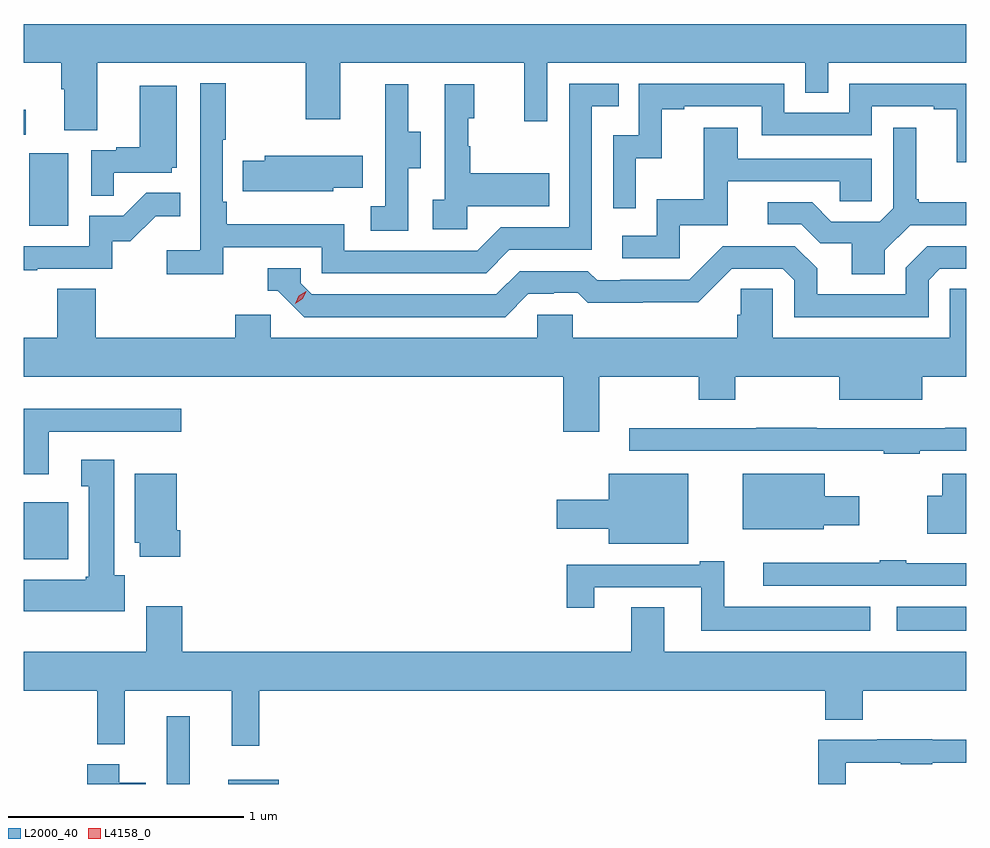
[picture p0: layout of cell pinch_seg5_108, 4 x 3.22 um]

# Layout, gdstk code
import gdstk
lib = gdstk.Library(unit=1e-6, precision=1e-09)
def R(c, l, rs):  # rectangles x0, y0, x1, y1
    for r in rs: c.add(gdstk.rectangle(r[:2], r[2:], *l))
def P(c, l, *ps):  # polygons
    for p in ps: c.add(gdstk.Polygon(p, *l))
L2000_40 = (2000, 40)
L4158_0 = (4158, 0)

pinch_seg5_108 = lib.new_cell('pinch_seg5_108')
R(pinch_seg5_108, L2000_40, [(1019.049,890.996,1019.146,891.283), (1019.309,890.996,1019.524,891.013), (1022.145,891.647,1022.441,891.748), (1018.441,891.95,1018.63,892.192), (1018.466,893.364,1018.63,893.671), (1018.441,893.751,1018.45,893.857)])
P(pinch_seg5_108, L2000_40, [(1018.753,894.056),(1019.638,894.056),(1019.638,893.817),(1019.785,893.817),(1019.785,894.056),(1020.566,894.056),(1020.566,893.808),(1020.663,893.808),(1020.663,894.056),(1021.758,894.056),(1021.758,893.929),(1021.854,893.929),(1021.854,894.056),(1022.441,894.056),(1022.441,894.22),(1018.441,894.22),(1018.441,894.056),(1018.601,894.056),(1018.601,893.944),(1018.613,893.944),(1018.613,893.77),(1018.753,893.77)],
  [(1019.288,893.274),(1019.706,893.274),(1019.706,893.163),(1020.403,893.163),(1020.502,893.262),(1020.852,893.262),(1020.852,893.871),(1020.965,893.871),(1020.965,893.967),(1020.756,893.967),(1020.756,893.358),(1020.465,893.358),(1020.366,893.259),(1019.802,893.259),(1019.802,893.371),(1019.303,893.371),(1019.303,893.467),(1019.286,893.467),(1019.286,893.728),(1019.299,893.728),(1019.299,893.968),(1019.19,893.968),(1019.19,893.26),(1019.049,893.26),(1019.049,893.158),(1019.288,893.158)],
  [(1021.038,893.651),(1021.148,893.651),(1021.148,893.859),(1021.243,893.859),(1021.243,893.871),(1021.572,893.871),(1021.572,893.748),(1022.04,893.748),(1022.04,893.871),(1022.303,893.871),(1022.303,893.859),(1022.399,893.859),(1022.399,893.633),(1022.441,893.633),(1022.441,893.967),(1021.944,893.967),(1021.944,893.844),(1021.668,893.844),(1021.668,893.967),(1021.05,893.967),(1021.05,893.748),(1020.942,893.748),(1020.942,893.439),(1021.038,893.439)],
  [(1020.324,893.447),(1020.671,893.447),(1020.671,893.587),(1020.337,893.587),(1020.337,893.702),(1020.327,893.702),(1020.327,893.82),(1020.352,893.82),(1020.352,893.965),(1020.228,893.965),(1020.228,893.474),(1020.177,893.474),(1020.177,893.349),(1020.324,893.349)],
  [(1020.072,893.608),(1020.127,893.608),(1020.127,893.763),(1020.073,893.763),(1020.073,893.965),(1019.975,893.965),(1019.975,893.751),(1019.976,893.751),(1019.976,893.447),(1019.913,893.447),(1019.913,893.344),(1020.072,893.344)],
  [(1018.823,893.589),(1019.07,893.589),(1019.07,893.61),(1019.092,893.61),(1019.092,893.959),(1018.934,893.959),(1018.934,893.698),(1018.835,893.698),(1018.835,893.685),(1018.728,893.685),(1018.728,893.491),(1018.823,893.491)],
  [(1022.095,893.26),(1022.202,893.367),(1022.441,893.367),(1022.441,893.464),(1022.239,893.464),(1022.239,893.476),(1022.227,893.476),(1022.227,893.779),(1022.13,893.779),(1022.13,893.439),(1022.073,893.382),(1021.867,893.382),(1021.786,893.463),(1021.599,893.463),(1021.599,893.37),(1021.74,893.37),(1021.82,893.29),(1021.955,893.29),(1021.955,893.158),(1022.095,893.158)],
  [(1021.224,893.367),(1021.429,893.367),(1021.429,893.553),(1021.903,893.553),(1021.903,893.469),(1022.04,893.469),(1022.04,893.649),(1021.471,893.649),(1021.471,893.779),(1021.327,893.779),(1021.327,893.476),(1021.128,893.476),(1021.128,893.322),(1020.981,893.322),(1020.981,893.226),(1021.224,893.226)],
  [(1019.754,893.525),(1019.879,893.525),(1019.879,893.662),(1019.465,893.662),(1019.465,893.64),(1019.371,893.64),(1019.371,893.511),(1019.482,893.511),(1019.482,893.51),(1019.754,893.51)],
  [(1018.499,893.181),(1018.818,893.181),(1018.818,893.298),(1018.894,893.298),(1019.001,893.405),(1019.105,893.405),(1019.105,893.504),(1018.961,893.504),(1018.863,893.406),(1018.719,893.406),(1018.719,893.277),(1018.441,893.277),(1018.441,893.176),(1018.499,893.176)],
  [(1020.583,893.076),(1020.69,893.076),(1020.69,893.079),(1020.793,893.079),(1020.835,893.037),(1021.068,893.037),(1021.068,893.039),(1021.304,893.039),(1021.446,893.181),(1021.662,893.181),(1021.71,893.133),(1021.71,892.977),(1022.28,892.977),(1022.28,893.133),(1022.328,893.181),(1022.441,893.181),(1022.441,893.277),(1022.274,893.277),(1022.184,893.187),(1022.184,893.073),(1021.807,893.073),(1021.807,893.183),(1021.713,893.277),(1021.407,893.277),(1021.266,893.136),(1020.973,893.136),(1020.973,893.133),(1020.874,893.133),(1020.835,893.172),(1020.546,893.172),(1020.447,893.073),(1019.664,893.073),(1019.616,893.121),(1019.616,893.184),(1019.477,893.184),(1019.477,893.088),(1019.52,893.088),(1019.631,892.977),(1020.484,892.977)],
  [(1020.883,892.724),(1021.306,892.724),(1021.306,892.625),(1021.461,892.625),(1021.461,892.724),(1021.901,892.724),(1021.901,892.625),(1022.254,892.625),(1022.254,892.724),(1022.441,892.724),(1022.441,893.096),(1022.37,893.096),(1022.37,892.888),(1021.62,892.888),(1021.62,893.096),(1021.483,893.096),(1021.483,892.986),(1021.469,892.986),(1021.469,892.888),(1020.771,892.888),(1020.771,892.986),(1020.621,892.986),(1020.621,892.888),(1019.49,892.888),(1019.49,892.986),(1019.339,892.986),(1019.339,892.888),(1018.748,892.888),(1018.748,893.096),(1018.583,893.096),(1018.583,892.888),(1018.441,892.888),(1018.441,892.724),(1020.731,892.724),(1020.731,892.491),(1020.883,892.491)],
  [(1018.549,892.491),(1019.11,892.491),(1019.11,892.588),(1018.441,892.588),(1018.441,892.31),(1018.549,892.31)],
  [(1022.243,892.41),(1022.441,892.41),(1022.441,892.508),(1022.35,892.508),(1022.35,892.506),(1021.805,892.506),(1021.805,892.508),(1021.549,892.508),(1021.549,892.506),(1021.011,892.506),(1021.011,892.41),(1021.936,892.41),(1021.936,892.409),(1022.09,892.409),(1022.09,892.398),(1022.243,892.398)],
  [(1018.87,891.882),(1018.825,891.882),(1018.825,892.372),(1018.685,892.372),(1018.685,892.259),(1018.718,892.259),(1018.718,891.876),(1018.705,891.876),(1018.705,891.862),(1018.441,891.862),(1018.441,891.728),(1018.87,891.728)],
  [(1021.836,892.094),(1021.987,892.094),(1021.987,892.216),(1021.84,892.216),(1021.84,892.312),(1021.493,892.312),(1021.493,892.076),(1021.836,892.076)],
  [(1021.261,892.312),(1020.923,892.312),(1020.923,892.201),(1020.702,892.201),(1020.702,892.079),(1020.923,892.079),(1020.923,892.016),(1021.261,892.016)],
  [(1022.441,892.312),(1022.339,892.312),(1022.339,892.219),(1022.274,892.219),(1022.274,892.058),(1022.441,892.058)],
  [(1019.105,892.072),(1019.092,892.072),(1019.092,892.312),(1018.913,892.312),(1018.913,892.02),(1018.934,892.02),(1018.934,891.96),(1019.105,891.96)],
  [(1022.441,891.933),(1022.186,891.933),(1022.186,891.946),(1022.074,891.946),(1022.074,891.934),(1021.578,891.934),(1021.578,891.837),(1022.441,891.837)],
  [(1022.032,891.748),(1021.414,891.748),(1021.414,891.94),(1021.31,891.94),(1021.31,891.927),(1020.745,891.927),(1020.745,891.744),(1020.862,891.744),(1020.862,891.831),(1021.316,891.831),(1021.316,891.647),(1022.032,891.647)],
  [(1019.324,891.159),(1019.441,891.159),(1019.441,891.392),(1021.841,891.392),(1021.841,891.268),(1022.001,891.268),(1022.001,891.392),(1022.441,891.392),(1022.441,891.556),(1021.159,891.556),(1021.159,891.746),(1021.019,891.746),(1021.019,891.556),(1019.114,891.556),(1019.114,891.751),(1018.961,891.751),(1018.961,891.556),(1018.441,891.556),(1018.441,891.392),(1018.753,891.392),(1018.753,891.164),(1018.871,891.164),(1018.871,891.392),(1019.324,891.392)],
  [(1021.929,891.086),(1022.163,891.086),(1022.163,891.08),(1022.295,891.08),(1022.295,891.087),(1022.441,891.087),(1022.441,891.183),(1022.295,891.183),(1022.295,891.185),(1022.063,891.185),(1022.063,891.183),(1021.813,891.183),(1021.813,890.996),(1021.929,890.996)],
  [(1018.96,891.001),(1018.846,891.001),(1018.846,891.079),(1018.712,891.079),(1018.712,890.996),(1018.96,890.996)])
P(pinch_seg5_108, L4158_0, [(1019.594,893.034),(1019.594,893.034),(1019.609,893.067),(1019.64,893.087),(1019.64,893.087),(1019.64,893.087),(1019.625,893.054),(1019.594,893.034)])

lib.write_gds('pinch_seg5_108.gds')
